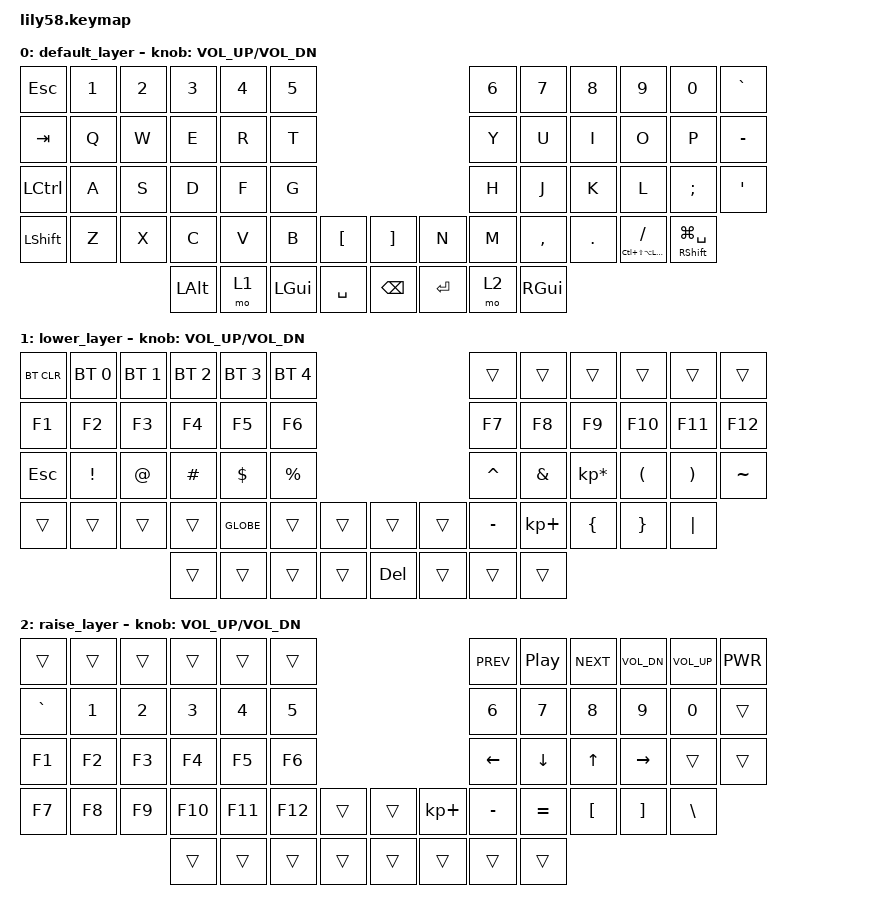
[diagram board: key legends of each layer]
/*
 * Copyright (c) 2020 The ZMK Contributors
 *
 * SPDX-License-Identifier: MIT
 */

#include <behaviors.dtsi>
#include <dt-bindings/zmk/keys.h>
#include <dt-bindings/zmk/bt.h>
#include <dt-bindings/zmk/ext_power.h>

/ {
	keymap {
		compatible = "zmk,keymap";
		
		default_layer {
			bindings = <
 // ╭─────────────┬─────────────┬─────────────┬─────────────┬─────────────┬─────────────╮   														 ╭─────────────┬─────────────┬──────────────┬─────────────┬─────────────┬────────────╮
		    &kp ESC       &kp N1        &kp N2       		&kp N3        &kp N4      &kp N5        																	&kp N6        &kp N7        &kp N8         &kp N9       &kp N0       &kp GRAVE
 // ├─────────────┼─────────────┼─────────────┼─────────────┼─────────────┼─────────────┤   														 ├─────────────┼─────────────┼──────────────┼─────────────┼─────────────┼────────────┤
		    &kp TAB       &kp Q         &kp W          	&kp E         &kp R       &kp T            																&kp Y         &kp U         &kp I          &kp O        &kp P        &kp MINUS
 // ├─────────────┼─────────────┼─────────────┼─────────────┼─────────────┼─────────────┤   					 									 ├─────────────┼─────────────┼──────────────┼─────────────┼─────────────┼────────────┤
		 		&kp LCTRL 		&kp A  				&kp S  					&kp D    			&kp F  			&kp G             															&kp H         &kp J        	&kp K     		 &kp L   		 	&kp SEMI 		 &kp SQT
 // ├─────────────┼─────────────┼─────────────┼─────────────┼─────────────┼─────────────┼──────────────╮   ╭─────────────┼─────────────┼─────────────┼──────────────┼─────────────┼─────────────┼────────────┤
				&kp LSHFT 		&kp Z  				&kp X  					&kp C    			&kp V  			&kp B  				&kp LBKT  					&kp RBKT 		 	&kp N   			&kp M	 				&kp COMMA 	 &kp DOT    &mt LC(LS(LA(LGUI))) FSLH 	&mt RSHIFT LG(SPACE)
 // ╰─────────────┴─────────────┴─────────────┼─────────────┼─────────────┼─────────────┼──────────────┤   ├─────────────┼─────────────┼─────────────┼──────────────┼─────────────┴─────────────┴────────────╯
																										&kp LALT 			&mo 1 			&kp LGUI 			&kp SPACE 					&kp BSPC 			&kp RET 			&mo 2 	 			&kp RGUI
 //               														╰─────────────┴─────────────┴─────────────┴──────────────╯   ╰─────────────┴─────────────┴─────────────┴──────────────╯
			>;

			sensor-bindings = <&inc_dec_kp C_VOL_UP C_VOL_DN>;
		};

		lower_layer {
			bindings = <
 // ╭─────────────┬─────────────┬─────────────┬─────────────┬─────────────┬─────────────╮   														 ╭─────────────┬─────────────┬──────────────┬─────────────┬─────────────┬────────────╮
			&bt BT_CLR 		&bt BT_SEL 0  &bt BT_SEL 1 &bt BT_SEL 2   &bt BT_SEL 3  &bt BT_SEL 4																			&trans    		&trans    		&trans					&trans				&trans			&trans
 // ├─────────────┼─────────────┼─────────────┼─────────────┼─────────────┼─────────────┤   														 ├─────────────┼─────────────┼──────────────┼─────────────┼─────────────┼────────────┤
			&kp F1     		&kp F2				&kp F3					&kp	F4				&kp F5				&kp F6																					&kp	F7				&kp F8				&kp F9					&kp F10				&kp F11			&kp F12
 // ├─────────────┼─────────────┼─────────────┼─────────────┼─────────────┼─────────────┤   														 ├─────────────┼─────────────┼──────────────┼─────────────┼─────────────┼────────────┤
			&kp ESC				&kp EXCL			&kp AT					&kp HASH			&kp DOLLAR		&kp PRCNT                    										&kp CARET 		&kp AMPS  	&kp KP_MULTIPLY 	&kp LPAR  	 &kp RPAR  		&kp TILDE
 // ├─────────────┼─────────────┼─────────────┼─────────────┼─────────────┼─────────────┼──────────────╮   ╭─────────────┼─────────────┼─────────────┼──────────────┼─────────────┼─────────────┼────────────┤
			&trans    		&trans  			&trans 					&trans				&kp GLOBE			&trans				&trans   					&trans					&trans    		&kp MINUS 		&kp KP_PLUS    &kp LBRC  		 &kp RBRC  	  &kp PIPE
 // ╰─────────────┴─────────────┴─────────────┼─────────────┼─────────────┼─────────────┼──────────────┤   ├─────────────┼─────────────┼─────────────┼──────────────┼─────────────┴─────────────┴────────────╯
                                              		&trans				&trans				&trans				&trans						&kp DEL					&trans				&trans				&trans
 //               														╰─────────────┴─────────────┴─────────────┴──────────────╯   ╰─────────────┴─────────────┴─────────────┴──────────────╯
			>;

			sensor-bindings = <&inc_dec_kp C_VOL_UP C_VOL_DN>;
		};

		raise_layer {
			bindings = <
 // ╭─────────────┬─────────────┬─────────────┬─────────────┬─────────────┬─────────────╮   														 ╭─────────────┬─────────────┬──────────────┬─────────────┬─────────────┬────────────╮
				&trans    		&trans				&trans				&trans				&trans					&trans																			&kp C_PREV 		&kp C_PP			&kp C_NEXT		&kp C_VOL_DN	&kp C_VOL_UP	&kp C_PWR
 // ├─────────────┼─────────────┼─────────────┼─────────────┼─────────────┼─────────────┤   														 ├─────────────┼─────────────┼──────────────┼─────────────┼─────────────┼────────────┤
				&kp GRAVE			&kp N1				&kp N2				&kp N3				&kp N4  				&kp N5																				&kp N6				&kp N7				&kp N8				&kp N9				&kp N0				&trans
 // ├─────────────┼─────────────┼─────────────┼─────────────┼─────────────┼─────────────┤   														 ├─────────────┼─────────────┼──────────────┼─────────────┼─────────────┼────────────┤
				&kp F1				&kp F2				&kp F3				&kp F4				&kp F5					&kp F6																				&kp LEFT			&kp DOWN			&kp UP				&kp RIGHT			&trans				&trans
 // ├─────────────┼─────────────┼─────────────┼─────────────┼─────────────┼─────────────┼──────────────╮   ╭─────────────┼─────────────┼─────────────┼──────────────┼─────────────┼─────────────┼────────────┤
				&kp F7				&kp F8				&kp F9				&kp F10				&kp F11					&kp F12			&trans							&trans		 	&kp KP_PLUS			&kp MINUS			&kp EQUAL			&kp LBKT			&kp RBKT			&kp BSLH
 // ╰─────────────┴─────────────┴─────────────┼─────────────┼─────────────┼─────────────┼──────────────┤   ├─────────────┼─────────────┼─────────────┼──────────────┼─────────────┴─────────────┴────────────╯
                        													&trans  			&trans  				&trans    	&trans   						&trans			&trans					&trans				&trans
 //               														╰─────────────┴─────────────┴─────────────┴──────────────╯   ╰─────────────┴─────────────┴─────────────┴──────────────╯
			>;

			sensor-bindings = <&inc_dec_kp C_VOL_UP C_VOL_DN>;
		};
	};
};
